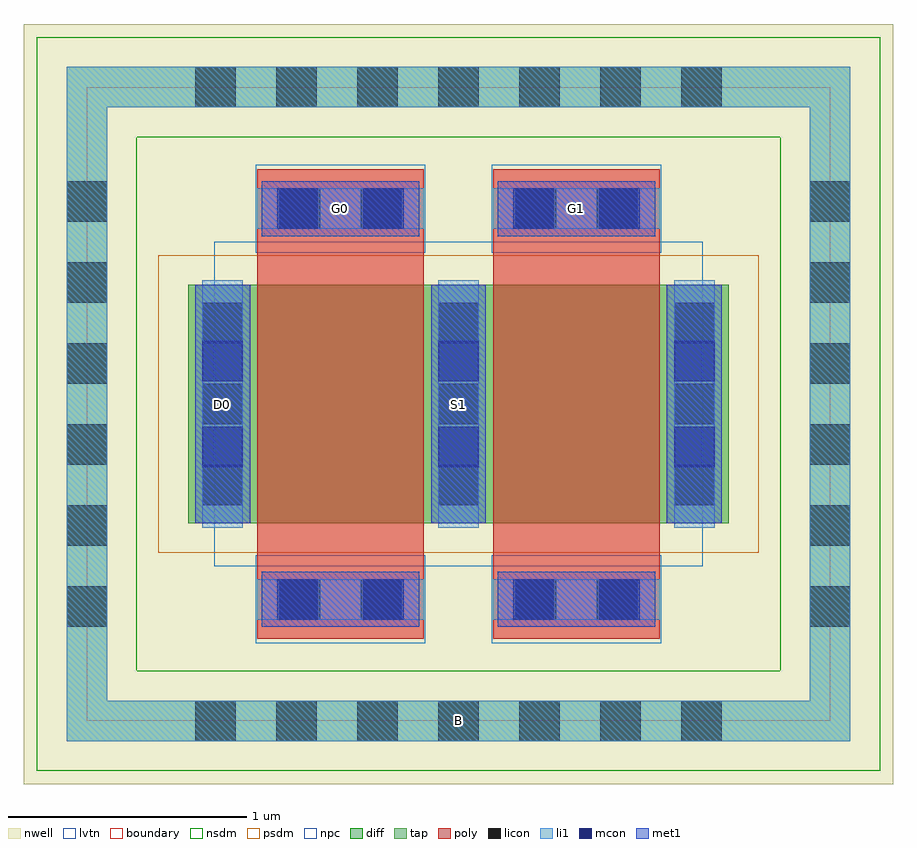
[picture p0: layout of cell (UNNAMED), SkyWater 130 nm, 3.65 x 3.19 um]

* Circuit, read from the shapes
.subckt (UNNAMED) B D0 G0 G1 S1
XM1 S1 G0 D0 B sky130_fd_pr__pfet_01v8_lvt w=1 l=0.7
XM2 n1 G1 S1 B sky130_fd_pr__pfet_01v8_lvt w=1 l=0.7
.ends

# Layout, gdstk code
import gdstk
lib = gdstk.Library(unit=1e-6, precision=1e-09)
def R(c, l, rs):  # rectangles x0, y0, x1, y1
    for r in rs: c.add(gdstk.rectangle(r[:2], r[2:], *l))
def A(c, l, x, y, w, h, nx, ny, dx, dy):  # array of equal rectangles
    R(c, l, [(x+i*dx, y+j*dy, x+i*dx+w, y+j*dy+h) for i in range(nx) for j in range(ny)])
nwell = (64, 20)
diff = (65, 20)
tap = (65, 44)
poly = (66, 20)
licon = (66, 44)
li1 = (67, 20)
mcon = (67, 44)
met1 = (68, 20)
nsdm = (93, 44)
psdm = (94, 20)
npc = (95, 20)
lvtn = (125, 44)
boundary = (235, 4)

c__unnamed_ = lib.new_cell('(UNNAMED)')
R(c__unnamed_, nwell, [(-1.825,-1.595,1.825,1.595)])
R(c__unnamed_, diff, [(-1.135,-0.5,1.135,0.5)])
R(c__unnamed_, tap, [(-1.645,-1.415,1.645,-1.245), (-1.645,-1.245,-1.475,1.245), (1.475,-1.245,1.645,1.245), (-1.645,1.245,1.645,1.415)])
R(c__unnamed_, poly, [(-0.845,-0.985,-0.145,0.985), (0.145,-0.985,0.845,0.985)])
A(c__unnamed_, licon, -1.105, -1.415, 0.17, 0.17, 7, 2, 0.34, 2.66)
A(c__unnamed_, licon, -1.645, -0.935, 0.17, 0.17, 1, 6, 0, 0.34)
A(c__unnamed_, licon, 1.475, -0.935, 0.17, 0.17, 1, 6, 0, 0.34)
A(c__unnamed_, licon, -1.075, -0.425, 0.17, 0.17, 3, 3, 0.99, 0.34)
R(c__unnamed_, licon, [(-0.75,-0.905,-0.58,-0.735), (-0.41,-0.905,-0.24,-0.735), (0.24,-0.905,0.41,-0.735), (0.58,-0.905,0.75,-0.735), (-0.75,0.735,-0.58,0.905), (-0.41,0.735,-0.24,0.905), (0.24,0.735,0.41,0.905), (0.58,0.735,0.75,0.905)])
A(c__unnamed_, li1, -1.075, -0.52, 0.17, 1.04, 3, 1, 0.99, 0)
R(c__unnamed_, li1, [(-1.645,-1.415,1.645,-1.245), (-1.645,-1.245,-1.475,1.245), (1.475,-1.245,1.645,1.245), (-0.845,-0.905,-0.145,-0.735), (0.145,-0.905,0.845,-0.735), (-0.845,0.735,-0.145,0.905), (0.145,0.735,0.845,0.905), (-1.645,1.245,1.645,1.415)])
A(c__unnamed_, mcon, -1.075, -0.265, 0.17, 0.17, 3, 2, 0.99, 0.36)
R(c__unnamed_, mcon, [(-0.76,-0.905,-0.59,-0.735), (-0.4,-0.905,-0.23,-0.735), (0.23,-0.905,0.4,-0.735), (0.59,-0.905,0.76,-0.735), (-0.76,0.735,-0.59,0.905), (-0.4,0.735,-0.23,0.905), (0.23,0.735,0.4,0.905), (0.59,0.735,0.76,0.905)])
A(c__unnamed_, met1, -1.105, -0.5, 0.23, 1, 3, 1, 0.99, 0)
R(c__unnamed_, met1, [(-0.825,-0.935,-0.165,-0.705), (0.165,-0.935,0.825,-0.705), (-0.825,0.705,-0.165,0.935), (0.165,0.705,0.825,0.935)])
R(c__unnamed_, nsdm, [(-1.77,-1.54,1.77,-1.12), (-1.77,-1.12,-1.35,1.12), (1.35,-1.12,1.77,1.12), (-1.77,1.12,1.77,1.54)])
R(c__unnamed_, psdm, [(-1.26,-0.625,1.26,0.625)])
R(c__unnamed_, npc, [(-0.85,-1.005,-0.14,-0.635), (0.14,-1.005,0.85,-0.635), (-0.85,0.635,-0.14,1.005), (0.14,0.635,0.85,1.005)])
R(c__unnamed_, lvtn, [(-1.025,-0.68,1.025,0.68)])
R(c__unnamed_, boundary, [(-1.56,-1.33,1.56,1.33)])
c__unnamed_.add(gdstk.Label('B', (0,-1.33), layer=67, texttype=5))
c__unnamed_.add(gdstk.Label('D0', (-0.99,0), layer=67, texttype=5))
c__unnamed_.add(gdstk.Label('G0', (-0.495,0.82), layer=67, texttype=5))
c__unnamed_.add(gdstk.Label('S1', (0,0), layer=67, texttype=5))
c__unnamed_.add(gdstk.Label('G1', (0.495,0.82), layer=67, texttype=5))

lib.write_gds('_UNNAMED_.gds')
